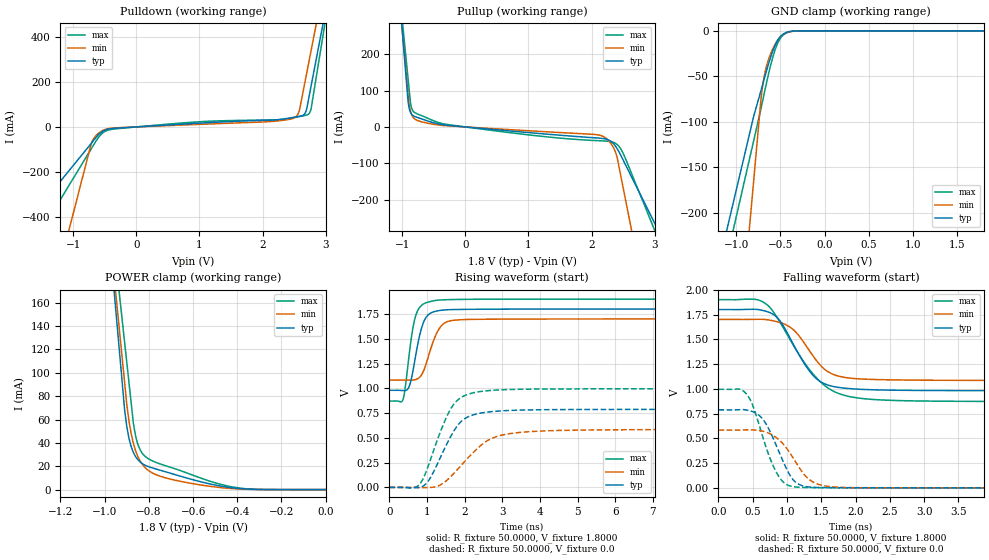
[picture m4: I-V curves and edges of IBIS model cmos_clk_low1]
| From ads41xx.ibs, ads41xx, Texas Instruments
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|   Model cmos_clk_low1
[Model]   cmos_clk_low1
Model_type 3-state
Polarity   Non-Inverting
Enable   Active-High
Vmeas=0.9
C_comp   2.0750pF   1.9000pF   2.2500pF
[Temperature Range]   25.0000   0.1250k   -40.0000
[Voltage Range]   1.8000V   1.7000V   1.9000V
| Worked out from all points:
|   slope of the pulldown table from 0 to 0.27 V, typ, clamps not added: 57.9 ohm
|   slope of the pullup table from 0 to 0.27 V, typ, clamps not added: 62.7 ohm
|   GND clamp passes 1 mA (typ) near -0.40 V on its own axis
|   POWER clamp passes 1 mA (typ) near -0.39 V on its own axis
|   rising waveform, R_fixture 50.0000, V_fixture 1.8000: 20-80 % time 268ps typ, 345ps min, 227ps max; typ from 0.98 V to 1.8 V
|   rising waveform, R_fixture 50.0000, V_fixture 0.0: 20-80 % time 648ps typ, 935ps min, 620ps max; typ from 0 V to 0.788 V
|   falling waveform, R_fixture 50.0000, V_fixture 1.8000: 20-80 % time 424ps typ, 410ps min, 600ps max; typ from 1.8 V to 0.98 V
|   falling waveform, R_fixture 50.0000, V_fixture 0.0: 20-80 % time 312ps typ, 363ps min, 295ps max; typ from 0.787 V to 0 V
[Pulldown]
|Voltage   I(typ)   I(min)   I(max)
-1.8V     -447.9mA   -1.259A    -599.8mA
-720mV    -75.84mA   -82.09mA   -100.5mA
-640mV    -47.62mA   -39.35mA   -63.99mA
-480mV    -12.56mA   -9.991mA   -17.81mA
870mV     14.65mA    9.956mA    20.57mA
2.48V     41.95mA    37.46mA    40.89mA
2.54V     44.81mA    48.15mA    44.31mA
2.58V     46.65mA    71.23mA    46.39mA
2.67V     59.25mA    197.2mA    50.79mA
2.72V     110.6mA    269.2mA    55.5mA
2.77V     183.8mA    341.1mA    82.43mA
3.6V      1.4A       1.535A     1.518A
[Pullup]
|Voltage   I(typ)   I(min)   I(max)
-1.8V     1.985A     1.8A       1.7A
-910mV    78.41mA    98.35mA    140.6mA
-890mV    53.38mA    64.8mA     105.5mA
-860mV    37.57mA    39.26mA    59.46mA
-780mV    27.41mA    19.76mA    37.54mA
-260mV    4.234mA    2.841mA    6.131mA
2.16V     -31.57mA   -24.52mA   -38.3mA
2.28V     -36.75mA   -39.86mA   -39.94mA
2.38V     -53.19mA   -69.91mA   -45.29mA
2.47V     -80.69mA   -141.1mA   -62.92mA
2.55V     -108.6mA   -211.4mA   -92.55mA
3.6V      -474.3mA   -1.134A    -541.5mA
[GND_clamp]
|Voltage   I(typ)   I(min)   I(max)
-1.8V     -504.9mA   -1.25A     -544.4mA
-800mV    -93.26mA   -162.7mA   -120.1mA
-720mV    -66.05mA   -75.75mA   -85.86mA
-710mV    -62.52mA   -66.95mA   -81.33mA
-690mV    -55.42mA   -53.64mA   -72.21mA
-670mV    -48.38mA   -43.99mA   -63.13mA
-620mV    -31.88mA   -27.59mA   -41.68mA
-560mV    -16.06mA   -14.66mA   -20.84mA
-500mV    -6.385mA   -6.497mA   -8.199mA
-450mV    -2.54mA    -2.796mA   -3.339mA
-270mV    -23.71uA   -42.25uA   -40.76uA
1.8V      5.785nA    96.42nA    1.725nA
[POWER_clamp]
|Voltage   I(typ)   I(min)   I(max)
-1.8V     1.973A     1.793A     1.681A
-1.07V    411.1mA    397.9mA    406mA
-910mV    68.83mA    92.21mA    126.6mA
-900mV    54.09mA    73.1mA     109.1mA
-890mV    43.87mA    58.68mA    91.62mA
-870mV    31.74mA    39.51mA    56.69mA
-860mV    28.17mA    33.2mA     45.72mA
-840mV    23.7mA     24.62mA    34.17mA
-810mV    20.28mA    17.58mA    27.37mA
-690mV    13.32mA    8.432mA    18.33mA
-420mV    1.498mA    832.7uA    2.21mA
0V        5.785nA    -260.3nA   2.441nA
[Ramp]
| variable   typ   min   max
dV/dt_r  0.4726/0.6481n   0.3503/0.9339n   0.5971/0.6203n
dV/dt_f  0.4921/0.4237n   0.3700/0.4099n   0.6176/0.6003n
R_load = 50.0000
[Rising Waveform]
R_fixture= 50.0000
V_fixture= 1.8000
V_fixture_min= 1.7000
V_fixture_max= 1.9000
|time   V(typ)   V(min)   V(max)
0s        979.9mV    1.084V     870.8mV
360ps     977.1mV    1.083V     885.6mV
510ps     1.006V     1.082V     1.297V
630ps     1.187V     1.084V     1.623V
735ps     1.411V     1.094V     1.771V
930ps     1.687V     1.198V     1.856V
1.185ns   1.773V     1.495V     1.884V
1.455ns   1.791V     1.656V     1.894V
1.98ns    1.796V     1.694V     1.898V
14.99ns   1.8V       1.7V       1.9V
[Rising Waveform]
R_fixture= 50.0000
V_fixture= 0.0
V_fixture_min= 0.0
V_fixture_max= 0.0
|time   V(typ)   V(min)   V(max)
0s        764nV      32.99uV    2.877nV
795ps     171.8uV    -1.605mV   29.18mV
1.08ns    92.58mV    -447.7uV   269.6mV
1.41ns    347.9mV    38.1mV     615.3mV
1.65ns    528.8mV    117mV      806.1mV
1.935ns   675.1mV    234.6mV    914.5mV
2.325ns   742mV      388.6mV    962mV
2.91ns    770.7mV    520.3mV    983.7mV
4.08ns    783.8mV    569.5mV    992.6mV
14.99ns   787.6mV    583.9mV    995.1mV
[Falling Waveform]
R_fixture= 50.0000
V_fixture= 1.8000
V_fixture_min= 1.7000
V_fixture_max= 1.9000
|time   V(typ)   V(min)   V(max)
0s        1.8V       1.7V       1.9V
510ps     1.803V     1.701V     1.905V
675ps     1.786V     1.7V       1.866V
870ps     1.709V     1.674V     1.703V
1.08ns    1.464V     1.604V     1.454V
1.29ns    1.215V     1.422V     1.229V
1.44ns    1.095V     1.275V     1.103V
1.695ns   1.021V     1.14V      969.7mV
2.13ns    993.2mV    1.097V     899.6mV
14.99ns   979.8mV    1.083V     870.7mV
[Falling Waveform]
R_fixture= 50.0000
V_fixture= 0.0
V_fixture_min= 0.0
V_fixture_max= 0.0
|time   V(typ)   V(min)   V(max)
0s        787.3mV    583.9mV    994.8mV
375ps     789mV      585.2mV    970.5mV
480ps     773.5mV    585.6mV    864.6mV
600ps     727.8mV    578mV      619.6mV
735ps     593.1mV    551.3mV    329.4mV
870ps     384.8mV    492.8mV    126.2mV
1.125ns   57.54mV    262.2mV    9.119mV
1.38ns    5.673mV    58.89mV    2.708mV
1.83ns    1.526mV    3.92mV     952.5uV
14.99ns   647.6nV    32.96uV    -39.4nV
